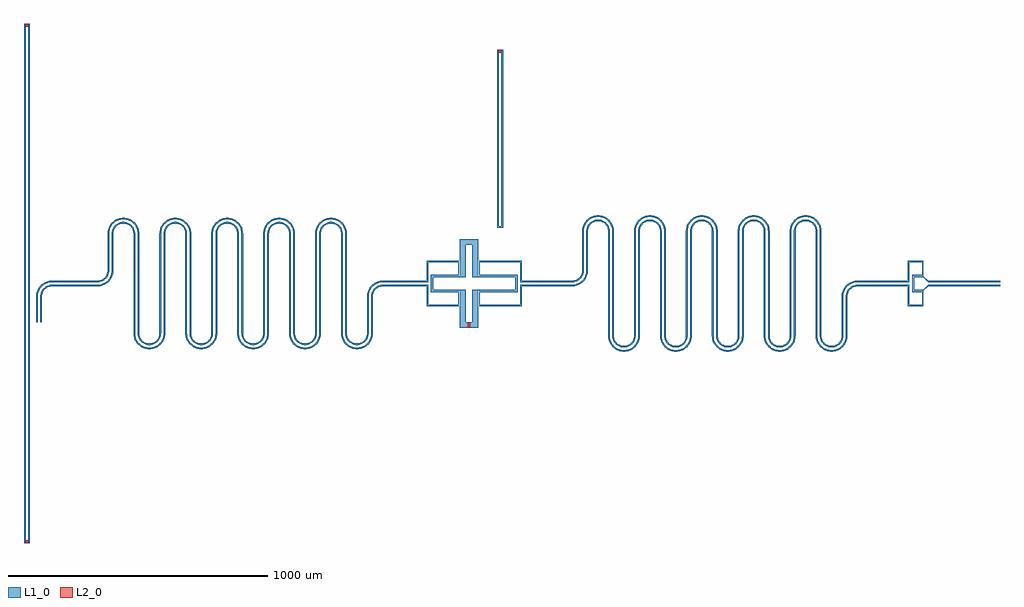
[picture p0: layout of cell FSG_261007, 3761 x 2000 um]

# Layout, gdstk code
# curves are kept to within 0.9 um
import gdstk
lib = gdstk.Library(unit=1e-6, precision=1e-09)
def R(c, l, rs):  # rectangles x0, y0, x1, y1
    for r in rs: c.add(gdstk.rectangle(r[:2], r[2:], *l))
def P(c, l, *ps):  # polygons
    for p in ps: c.add(gdstk.Polygon(p, *l))
L1_0 = (1, 0)
L2_0 = (2, 0)

nb_inv = lib.new_cell('Nb_inv')

fsg_261007 = lib.new_cell('FSG_261007')
R(fsg_261007, L1_0, [(-1867.802,-1000,-1861.802,1000), (-1851.802,-1000,-1845.802,1000)])
P(fsg_261007, L1_0, [(1560.198,-27),(1560.198,27),(1597.198,27),(1617.198,11),(1893.198,11),(1893.198,5),(1617.198,5),(1597.198,24),(1563.198,24),(1563.198,-24),(1597.198,-24),(1617.198,-5),(1893.198,-5),(1893.198,-11),(1617.198,-11),(1597.198,-27)],
  [(-188.802,-170),(-188.802,-27),(-293.802,-27),(-293.802,27),(-188.802,27),(-188.802,150),(-164.802,150),(-164.802,24),(-290.802,24),(-290.802,-24),(-164.802,-24),(-164.802,-150),(-140.802,-150),(-140.802,-24),(25.198,-24),(25.198,24),(-140.802,24),(-140.802,150),(-188.802,150),(-188.802,170),(-116.802,170),(-116.802,27),(28.198,27),(28.198,-27),(-116.802,-27),(-116.802,-170)],
  [(-1384.802,-253.179),(-1395.395,-252.252),(-1405.665,-249.5),(-1415.302,-245.007),(-1424.012,-238.908),(-1431.531,-231.389),(-1437.63,-222.679),(-1442.123,-213.042),(-1444.875,-202.772),(-1445.802,-192.179),(-1445.95,195.578),(-1448.154,205.518),(-1451.027,211.679),(-1454.926,217.248),(-1459.733,222.055),(-1465.302,225.954),(-1474.708,229.85),(-1481.403,231.031),(-1491.574,230.587),(-1498.141,228.827),(-1504.302,225.954),(-1509.871,222.055),(-1514.678,217.248),(-1520.148,208.661),(-1522.473,202.273),(-1523.802,192.179),(-1524.034,44.683),(-1525.881,34.212),(-1529.517,24.22),(-1538.073,10.79),(-1545.592,3.271),(-1554.302,-2.828),(-1563.939,-7.321),(-1579.485,-10.768),(-1759.802,-11),(-1769.896,-12.329),(-1779.302,-16.225),(-1784.871,-20.124),(-1791.749,-27.631),(-1796.45,-36.661),(-1798.21,-43.228),(-1798.802,-150),(-1804.802,-150),(-1804.802,-50),(-1804.118,-42.186),(-1800.586,-30.982),(-1796.664,-24.189),(-1791.622,-18.18),(-1782.302,-11.029),(-1771.449,-6.533),(-1759.802,-5),(-1580.008,-4.791),(-1570.567,-3.126),(-1561.558,0.153),(-1553.255,4.947),(-1542.67,14.647),(-1534.955,26.756),(-1531.676,35.765),(-1530.011,45.206),(-1529.802,192.179),(-1529.118,199.993),(-1525.586,211.197),(-1519.274,221.105),(-1510.613,229.041),(-1503.82,232.963),(-1496.449,235.646),(-1488.724,237.008),(-1476.988,236.496),(-1465.784,232.963),(-1458.991,229.041),(-1452.982,223.999),(-1447.94,217.99),(-1444.018,211.197),(-1440.486,199.993),(-1439.802,192.179),(-1439.593,-196.973),(-1437.928,-206.414),(-1434.649,-215.423),(-1429.855,-223.726),(-1423.693,-231.07),(-1416.349,-237.233),(-1408.046,-242.026),(-1399.037,-245.305),(-1389.596,-246.97),(-1380.008,-246.97),(-1370.567,-245.305),(-1361.558,-242.026),(-1353.255,-237.233),(-1345.911,-231.07),(-1339.749,-223.726),(-1334.955,-215.423),(-1330.638,-201.73),(-1329.802,-192.179),(-1329.631,196.101),(-1328.269,203.826),(-1325.586,211.197),(-1319.274,221.105),(-1310.613,229.041),(-1303.82,232.963),(-1296.449,235.646),(-1288.724,237.008),(-1276.988,236.496),(-1265.784,232.963),(-1258.991,229.041),(-1252.982,223.999),(-1247.94,217.99),(-1244.018,211.197),(-1240.486,199.993),(-1239.802,192.179),(-1239.593,-196.973),(-1237.928,-206.414),(-1234.649,-215.423),(-1229.855,-223.726),(-1223.693,-231.07),(-1212.302,-239.811),(-1203.613,-243.862),(-1194.353,-246.344),(-1184.802,-247.179),(-1175.251,-246.344),(-1161.558,-242.026),(-1153.255,-237.233),(-1145.911,-231.07),(-1139.749,-223.726),(-1134.955,-215.423),(-1130.638,-201.73),(-1129.802,-192.179),(-1129.631,196.101),(-1128.269,203.826),(-1125.586,211.197),(-1119.274,221.105),(-1110.613,229.041),(-1100.193,234.465),(-1092.616,236.496),(-1080.88,237.008),(-1073.155,235.646),(-1062.302,231.15),(-1052.982,223.999),(-1047.94,217.99),(-1044.018,211.197),(-1040.486,199.993),(-1039.802,192.179),(-1039.593,-196.973),(-1037.928,-206.414),(-1034.649,-215.423),(-1029.855,-223.726),(-1023.693,-231.07),(-1012.302,-239.811),(-1003.613,-243.862),(-994.353,-246.344),(-984.802,-247.179),(-975.251,-246.344),(-961.558,-242.026),(-953.255,-237.233),(-945.911,-231.07),(-939.749,-223.726),(-934.955,-215.423),(-930.638,-201.73),(-929.802,-192.179),(-929.631,196.101),(-928.269,203.826),(-925.586,211.197),(-919.274,221.105),(-910.613,229.041),(-900.193,234.465),(-892.616,236.496),(-880.88,237.008),(-873.155,235.646),(-862.302,231.15),(-852.982,223.999),(-847.94,217.99),(-844.018,211.197),(-840.486,199.993),(-839.802,192.179),(-839.593,-196.973),(-837.928,-206.414),(-834.649,-215.423),(-829.855,-223.726),(-823.693,-231.07),(-812.302,-239.811),(-803.613,-243.862),(-794.353,-246.344),(-784.802,-247.179),(-775.251,-246.344),(-761.558,-242.026),(-753.255,-237.233),(-745.911,-231.07),(-739.749,-223.726),(-734.955,-215.423),(-730.638,-201.73),(-729.802,-192.179),(-729.631,196.101),(-727.088,207.57),(-721.664,217.99),(-716.622,223.999),(-707.302,231.15),(-696.449,235.646),(-688.724,237.008),(-676.988,236.496),(-665.784,232.963),(-658.991,229.041),(-650.33,221.105),(-644.018,211.197),(-641.335,203.826),(-639.802,192.179),(-639.593,-196.973),(-637.928,-206.414),(-634.649,-215.423),(-626.934,-227.533),(-616.349,-237.233),(-608.046,-242.026),(-599.037,-245.305),(-589.596,-246.97),(-580.008,-246.97),(-570.567,-245.305),(-561.558,-242.026),(-553.255,-237.233),(-545.911,-231.07),(-539.749,-223.726),(-534.955,-215.423),(-531.676,-206.414),(-529.802,-192.179),(-529.802,-50),(-529.118,-42.186),(-525.586,-30.982),(-519.274,-21.075),(-510.613,-13.138),(-500.193,-7.714),(-492.616,-5.684),(-484.802,-5),(-309.802,-5),(-309.802,-81.5),(-194.802,-81.5),(-194.802,-33.5),(-299.802,-33.5),(-299.802,33.5),(-194.802,33.5),(-194.802,81.5),(-309.802,81.5),(-309.802,5),(-489.596,4.791),(-499.037,3.126),(-508.046,-0.153),(-520.155,-7.868),(-529.855,-18.453),(-534.649,-26.756),(-537.928,-35.765),(-539.593,-45.206),(-539.802,-192.179),(-540.486,-199.993),(-542.516,-207.57),(-545.831,-214.679),(-550.33,-221.105),(-558.991,-229.041),(-565.784,-232.963),(-573.155,-235.646),(-580.88,-237.008),(-588.724,-237.008),(-596.449,-235.646),(-603.82,-232.963),(-610.613,-229.041),(-619.274,-221.105),(-625.586,-211.197),(-628.269,-203.826),(-629.631,-196.101),(-629.802,192.179),(-631.676,206.414),(-634.955,215.423),(-642.67,227.533),(-653.255,237.233),(-661.558,242.026),(-675.251,246.344),(-689.596,246.97),(-699.037,245.305),(-712.302,239.811),(-723.693,231.07),(-729.855,223.726),(-736.485,210.99),(-739.593,196.973),(-739.802,-192.179),(-740.486,-199.993),(-744.018,-211.197),(-747.94,-217.99),(-752.982,-223.999),(-758.991,-229.041),(-765.784,-232.963),(-776.988,-236.496),(-788.724,-237.008),(-796.449,-235.646),(-803.82,-232.963),(-810.613,-229.041),(-819.274,-221.105),(-825.586,-211.197),(-828.269,-203.826),(-829.631,-196.101),(-829.802,192.179),(-831.676,206.414),(-834.955,215.423),(-842.67,227.533),(-849.449,234.312),(-857.302,239.811),(-870.567,245.305),(-880.008,246.97),(-894.353,246.344),(-903.613,243.862),(-916.349,237.233),(-926.934,227.533),(-934.649,215.423),(-937.928,206.414),(-939.593,196.973),(-939.802,-192.179),(-940.486,-199.993),(-944.018,-211.197),(-947.94,-217.99),(-952.982,-223.999),(-958.991,-229.041),(-965.784,-232.963),(-976.988,-236.496),(-984.802,-237.179),(-992.616,-236.496),(-1000.193,-234.465),(-1007.302,-231.15),(-1013.727,-226.651),(-1019.274,-221.105),(-1025.586,-211.197),(-1028.269,-203.826),(-1029.631,-196.101),(-1029.802,192.179),(-1031.676,206.414),(-1034.955,215.423),(-1042.67,227.533),(-1049.449,234.312),(-1057.302,239.811),(-1070.567,245.305),(-1080.008,246.97),(-1094.353,246.344),(-1103.613,243.862),(-1116.349,237.233),(-1126.934,227.533),(-1134.649,215.423),(-1137.928,206.414),(-1139.593,196.973),(-1139.802,-192.179),(-1140.486,-199.993),(-1144.018,-211.197),(-1147.94,-217.99),(-1152.982,-223.999),(-1158.991,-229.041),(-1165.784,-232.963),(-1176.988,-236.496),(-1184.802,-237.179),(-1192.616,-236.496),(-1200.193,-234.465),(-1207.302,-231.15),(-1213.727,-226.651),(-1219.274,-221.105),(-1225.586,-211.197),(-1228.269,-203.826),(-1229.631,-196.101),(-1229.802,192.179),(-1230.638,201.73),(-1234.955,215.423),(-1239.749,223.726),(-1245.911,231.07),(-1253.255,237.233),(-1261.558,242.026),(-1275.251,246.344),(-1289.596,246.97),(-1299.037,245.305),(-1308.046,242.026),(-1316.349,237.233),(-1326.934,227.533),(-1334.649,215.423),(-1337.928,206.414),(-1339.593,196.973),(-1339.802,-192.179),(-1340.486,-199.993),(-1344.018,-211.197),(-1347.94,-217.99),(-1352.982,-223.999),(-1358.991,-229.041),(-1365.784,-232.963),(-1373.155,-235.646),(-1380.88,-237.008),(-1388.724,-237.008),(-1396.449,-235.646),(-1403.82,-232.963),(-1410.613,-229.041),(-1416.622,-223.999),(-1421.664,-217.99),(-1425.586,-211.197),(-1428.269,-203.826),(-1429.631,-196.101),(-1429.802,192.179),(-1430.638,201.73),(-1434.955,215.423),(-1439.749,223.726),(-1445.911,231.07),(-1457.302,239.811),(-1465.991,243.862),(-1475.251,246.344),(-1484.802,247.179),(-1494.353,246.344),(-1503.613,243.862),(-1512.302,239.811),(-1520.155,234.312),(-1526.934,227.533),(-1532.433,219.679),(-1536.485,210.99),(-1538.966,201.73),(-1539.802,192.179),(-1539.973,46.078),(-1541.335,38.353),(-1544.018,30.982),(-1550.33,21.075),(-1558.991,13.138),(-1565.784,9.216),(-1573.155,6.533),(-1580.88,5.171),(-1759.802,5),(-1774.037,3.126),(-1787.302,-2.369),(-1798.693,-11.109),(-1804.855,-18.453),(-1809.649,-26.756),(-1812.928,-35.765),(-1814.802,-50),(-1814.802,-150),(-1820.802,-150),(-1820.802,-50),(-1819.875,-39.407),(-1817.123,-29.137),(-1812.63,-19.5),(-1802.936,-6.866),(-1794.79,-0.032),(-1780.665,7.321),(-1765.119,10.768),(-1581.403,11.148),(-1571.463,13.352),(-1565.302,16.225),(-1559.733,20.124),(-1554.926,24.931),(-1551.027,30.5),(-1548.154,36.661),(-1545.95,46.601),(-1545.802,192.179),(-1543.723,207.967),(-1537.63,222.679),(-1527.936,235.313),(-1515.302,245.007),(-1500.59,251.101),(-1490.119,252.947),(-1479.485,252.947),(-1469.014,251.101),(-1454.302,245.007),(-1445.592,238.908),(-1438.073,231.389),(-1429.517,217.959),(-1425.881,207.967),(-1423.802,192.179),(-1423.654,-195.578),(-1422.473,-202.273),(-1420.148,-208.661),(-1416.749,-214.549),(-1412.379,-219.756),(-1407.171,-224.126),(-1401.284,-227.525),(-1394.896,-229.85),(-1388.201,-231.031),(-1378.03,-230.587),(-1371.463,-228.827),(-1365.302,-225.954),(-1359.733,-222.055),(-1354.926,-217.248),(-1351.027,-211.679),(-1348.154,-205.518),(-1346.394,-198.951),(-1345.57,197.496),(-1343.723,207.967),(-1340.087,217.959),(-1331.531,231.389),(-1324.012,238.908),(-1315.302,245.007),(-1300.59,251.101),(-1290.119,252.947),(-1279.485,252.947),(-1269.014,251.101),(-1254.302,245.007),(-1245.592,238.908),(-1238.073,231.389),(-1229.517,217.959),(-1225.881,207.967),(-1223.802,192.179),(-1223.654,-195.578),(-1221.45,-205.518),(-1218.577,-211.679),(-1214.678,-217.248),(-1209.871,-222.055),(-1204.302,-225.954),(-1198.141,-228.827),(-1191.574,-230.587),(-1184.802,-231.179),(-1178.03,-230.587),(-1171.463,-228.827),(-1162.433,-224.126),(-1157.225,-219.756),(-1152.855,-214.549),(-1148.154,-205.518),(-1146.394,-198.951),(-1145.57,197.496),(-1143.723,207.967),(-1140.087,217.959),(-1131.531,231.389),(-1119.79,242.147),(-1105.665,249.5),(-1090.119,252.947),(-1079.485,252.947),(-1069.014,251.101),(-1054.302,245.007),(-1045.592,238.908),(-1038.073,231.389),(-1029.517,217.959),(-1025.881,207.967),(-1023.802,192.179),(-1023.654,-195.578),(-1021.45,-205.518),(-1018.577,-211.679),(-1014.678,-217.248),(-1009.871,-222.055),(-1004.302,-225.954),(-998.141,-228.827),(-991.574,-230.587),(-984.802,-231.179),(-978.03,-230.587),(-971.463,-228.827),(-962.433,-224.126),(-957.225,-219.756),(-952.855,-214.549),(-948.154,-205.518),(-946.394,-198.951),(-945.57,197.496),(-943.723,207.967),(-940.087,217.959),(-931.531,231.389),(-919.79,242.147),(-905.665,249.5),(-890.119,252.947),(-879.485,252.947),(-869.014,251.101),(-854.302,245.007),(-845.592,238.908),(-838.073,231.389),(-829.517,217.959),(-825.881,207.967),(-823.802,192.179),(-823.654,-195.578),(-821.45,-205.518),(-818.577,-211.679),(-814.678,-217.248),(-809.871,-222.055),(-804.302,-225.954),(-794.896,-229.85),(-788.201,-231.031),(-778.03,-230.587),(-771.463,-228.827),(-765.302,-225.954),(-759.733,-222.055),(-752.855,-214.549),(-748.154,-205.518),(-746.394,-198.951),(-745.57,197.496),(-742.123,213.042),(-737.63,222.679),(-727.936,235.313),(-715.302,245.007),(-700.59,251.101),(-690.119,252.947),(-674.209,252.252),(-659.022,247.464),(-645.592,238.908),(-638.073,231.389),(-629.517,217.959),(-625.881,207.967),(-623.802,192.179),(-623.654,-195.578),(-621.45,-205.518),(-618.577,-211.679),(-614.678,-217.248),(-609.871,-222.055),(-604.302,-225.954),(-594.896,-229.85),(-588.201,-231.031),(-578.03,-230.587),(-571.463,-228.827),(-565.302,-225.954),(-559.733,-222.055),(-554.926,-217.248),(-549.456,-208.661),(-547.131,-202.273),(-545.802,-192.179),(-545.57,-44.683),(-542.123,-29.137),(-537.63,-19.5),(-531.531,-10.79),(-524.012,-3.271),(-510.582,5.285),(-500.59,8.921),(-490.119,10.768),(-315.802,11),(-315.802,87.5),(-191.802,87.5),(-191.802,30.5),(-296.802,30.5),(-296.802,-30.5),(-191.802,-30.5),(-191.802,-87.5),(-315.802,-87.5),(-315.802,-11),(-484.802,-11),(-491.574,-11.592),(-498.141,-13.352),(-507.171,-18.053),(-514.678,-24.931),(-520.148,-33.518),(-523.21,-43.228),(-523.802,-192.179),(-524.729,-202.772),(-529.517,-217.959),(-534.834,-227.167),(-541.668,-235.313),(-549.814,-242.147),(-559.022,-247.464),(-569.014,-251.101),(-579.485,-252.947),(-590.119,-252.947),(-600.59,-251.101),(-615.302,-245.007),(-624.012,-238.908),(-631.531,-231.389),(-640.087,-217.959),(-643.723,-207.967),(-645.57,-197.496),(-646.394,198.951),(-649.456,208.661),(-654.926,217.248),(-659.733,222.055),(-668.32,227.525),(-678.03,230.587),(-688.201,231.031),(-698.141,228.827),(-704.302,225.954),(-709.871,222.055),(-716.749,214.549),(-721.45,205.518),(-723.654,195.578),(-723.802,-192.179),(-724.729,-202.772),(-727.481,-213.042),(-731.974,-222.679),(-741.668,-235.313),(-749.814,-242.147),(-759.022,-247.464),(-769.014,-251.101),(-784.802,-253.179),(-795.395,-252.252),(-810.582,-247.464),(-819.79,-242.147),(-827.936,-235.313),(-834.77,-227.167),(-840.087,-217.959),(-843.723,-207.967),(-845.57,-197.496),(-846.394,198.951),(-848.154,205.518),(-852.855,214.549),(-859.733,222.055),(-865.302,225.954),(-871.463,228.827),(-881.403,231.031),(-891.574,230.587),(-901.284,227.525),(-909.871,222.055),(-916.749,214.549),(-921.45,205.518),(-923.654,195.578),(-923.802,-192.179),(-924.729,-202.772),(-927.481,-213.042),(-931.974,-222.679),(-941.668,-235.313),(-949.814,-242.147),(-959.022,-247.464),(-969.014,-251.101),(-984.802,-253.179),(-995.395,-252.252),(-1010.582,-247.464),(-1019.79,-242.147),(-1027.936,-235.313),(-1034.77,-227.167),(-1040.087,-217.959),(-1043.723,-207.967),(-1045.57,-197.496),(-1046.394,198.951),(-1048.154,205.518),(-1052.855,214.549),(-1059.733,222.055),(-1065.302,225.954),(-1071.463,228.827),(-1081.403,231.031),(-1091.574,230.587),(-1098.141,228.827),(-1107.171,224.126),(-1114.678,217.248),(-1118.577,211.679),(-1121.45,205.518),(-1123.654,195.578),(-1123.802,-192.179),(-1124.729,-202.772),(-1127.481,-213.042),(-1131.974,-222.679),(-1138.073,-231.389),(-1145.592,-238.908),(-1154.302,-245.007),(-1169.014,-251.101),(-1179.485,-252.947),(-1190.119,-252.947),(-1200.59,-251.101),(-1210.582,-247.464),(-1219.79,-242.147),(-1227.936,-235.313),(-1234.77,-227.167),(-1240.087,-217.959),(-1244.875,-202.772),(-1245.802,-192.179),(-1245.95,195.578),(-1248.154,205.518),(-1251.027,211.679),(-1254.926,217.248),(-1262.433,224.126),(-1271.463,228.827),(-1278.03,230.587),(-1288.201,231.031),(-1294.896,229.85),(-1304.302,225.954),(-1309.871,222.055),(-1314.678,217.248),(-1318.577,211.679),(-1321.45,205.518),(-1323.654,195.578),(-1323.802,-192.179),(-1324.729,-202.772),(-1327.481,-213.042),(-1331.974,-222.679),(-1338.073,-231.389),(-1345.592,-238.908),(-1354.302,-245.007),(-1363.939,-249.5),(-1374.209,-252.252)],
  [(444.198,-262.606),(433.605,-261.679),(423.335,-258.927),(413.698,-254.434),(404.988,-248.335),(397.469,-240.816),(391.37,-232.106),(386.877,-222.469),(384.125,-212.199),(383.198,-201.606),(383.05,205.005),(380.846,214.945),(377.973,221.106),(374.074,226.675),(369.267,231.482),(363.698,235.381),(354.292,239.277),(347.597,240.458),(337.426,240.014),(330.859,238.254),(324.698,235.381),(319.129,231.482),(314.322,226.675),(308.852,218.088),(306.527,211.7),(305.198,201.606),(304.966,44.683),(301.519,29.137),(297.026,19.5),(287.332,6.866),(279.186,0.032),(265.061,-7.321),(249.515,-10.768),(50.198,-11),(50.198,-87.5),(-113.802,-87.5),(-113.802,-30.5),(31.198,-30.5),(31.198,30.5),(-113.802,30.5),(-113.802,87.5),(50.198,87.5),(50.198,11),(244.198,11),(250.97,11.592),(257.537,13.352),(263.698,16.225),(269.267,20.124),(274.074,24.931),(277.973,30.5),(280.846,36.661),(283.05,46.601),(283.198,201.606),(285.277,217.394),(291.37,232.106),(301.064,244.74),(313.698,254.434),(328.41,260.528),(338.881,262.374),(349.515,262.374),(359.986,260.528),(374.698,254.434),(383.408,248.335),(390.927,240.816),(399.483,227.386),(403.119,217.394),(405.198,201.606),(405.346,-205.005),(407.55,-214.945),(410.423,-221.106),(414.322,-226.675),(419.129,-231.482),(424.698,-235.381),(430.859,-238.254),(437.426,-240.014),(444.198,-240.606),(450.97,-240.014),(457.537,-238.254),(463.698,-235.381),(469.267,-231.482),(474.074,-226.675),(477.973,-221.106),(480.846,-214.945),(482.606,-208.378),(483.43,206.923),(486.877,222.469),(491.37,232.106),(501.064,244.74),(509.21,251.574),(523.335,258.927),(538.881,262.374),(549.515,262.374),(565.061,258.927),(574.698,254.434),(587.332,244.74),(597.026,232.106),(603.119,217.394),(605.198,201.606),(605.346,-205.005),(607.55,-214.945),(610.423,-221.106),(614.322,-226.675),(619.129,-231.482),(624.698,-235.381),(630.859,-238.254),(637.426,-240.014),(644.198,-240.606),(650.97,-240.014),(657.537,-238.254),(663.698,-235.381),(669.267,-231.482),(674.074,-226.675),(677.973,-221.106),(680.846,-214.945),(683.05,-205.005),(683.198,201.606),(684.125,212.199),(686.877,222.469),(694.23,236.594),(704.988,248.335),(718.418,256.891),(728.41,260.528),(738.881,262.374),(754.791,261.679),(769.978,256.891),(779.186,251.574),(787.332,244.74),(797.026,232.106),(803.119,217.394),(805.198,201.606),(805.346,-205.005),(807.55,-214.945),(810.423,-221.106),(814.322,-226.675),(819.129,-231.482),(824.698,-235.381),(830.859,-238.254),(837.426,-240.014),(844.198,-240.606),(850.97,-240.014),(857.537,-238.254),(863.698,-235.381),(869.267,-231.482),(874.074,-226.675),(877.973,-221.106),(880.846,-214.945),(883.05,-205.005),(883.198,201.606),(885.277,217.394),(891.37,232.106),(901.064,244.74),(913.698,254.434),(928.41,260.528),(944.198,262.606),(959.986,260.528),(974.698,254.434),(987.332,244.74),(994.166,236.594),(999.483,227.386),(1004.271,212.199),(1005.198,201.606),(1005.346,-205.005),(1007.55,-214.945),(1010.423,-221.106),(1014.322,-226.675),(1019.129,-231.482),(1024.698,-235.381),(1030.859,-238.254),(1037.426,-240.014),(1044.198,-240.606),(1050.97,-240.014),(1057.537,-238.254),(1063.698,-235.381),(1069.267,-231.482),(1074.074,-226.675),(1077.973,-221.106),(1080.846,-214.945),(1083.05,-205.005),(1083.198,201.606),(1084.125,212.199),(1086.877,222.469),(1091.37,232.106),(1101.064,244.74),(1109.21,251.574),(1117.871,256.606),(1144.198,256.606),(1134.647,255.771),(1125.387,253.289),(1116.698,249.238),(1108.845,243.739),(1102.066,236.96),(1096.567,229.106),(1092.515,220.417),(1090.034,211.157),(1089.198,201.606),(1089.027,-205.528),(1087.665,-213.253),(1084.982,-220.624),(1078.67,-230.532),(1073.123,-236.078),(1066.698,-240.577),(1059.589,-243.892),(1052.012,-245.923),(1044.198,-246.606),(1036.384,-245.923),(1025.18,-242.39),(1018.387,-238.468),(1012.378,-233.426),(1007.336,-227.417),(1003.414,-220.624),(999.882,-209.42),(999.198,-201.606),(998.989,206.4),(997.324,215.841),(994.045,224.85),(986.33,236.96),(975.745,246.66),(967.442,251.453),(958.433,254.732),(948.992,256.397),(934.647,255.771),(920.954,251.453),(912.651,246.66),(905.307,240.497),(899.145,233.153),(894.351,224.85),(890.034,211.157),(889.198,201.606),(889.027,-205.528),(887.665,-213.253),(884.982,-220.624),(878.67,-230.532),(873.123,-236.078),(866.698,-240.577),(859.589,-243.892),(852.012,-245.923),(844.198,-246.606),(836.384,-245.923),(825.18,-242.39),(818.387,-238.468),(812.378,-233.426),(807.336,-227.417),(803.414,-220.624),(799.882,-209.42),(799.198,-201.606),(798.989,206.4),(797.324,215.841),(794.045,224.85),(786.33,236.96),(775.745,246.66),(763.009,253.289),(753.749,255.771),(739.404,256.397),(729.963,254.732),(716.698,249.238),(708.845,243.739),(702.066,236.96),(694.351,224.85),(691.072,215.841),(689.198,201.606),(689.027,-205.528),(687.665,-213.253),(684.982,-220.624),(678.67,-230.532),(673.123,-236.078),(666.698,-240.577),(659.589,-243.892),(652.012,-245.923),(644.198,-246.606),(636.384,-245.923),(625.18,-242.39),(618.387,-238.468),(612.378,-233.426),(607.336,-227.417),(603.414,-220.624),(599.882,-209.42),(599.198,-201.606),(598.989,206.4),(595.881,220.417),(589.251,233.153),(579.551,243.739),(567.442,251.453),(553.749,255.771),(544.198,256.606),(534.647,255.771),(520.954,251.453),(512.651,246.66),(502.066,236.96),(494.351,224.85),(491.072,215.841),(489.198,201.606),(489.027,-205.528),(487.665,-213.253),(484.982,-220.624),(478.67,-230.532),(470.009,-238.468),(463.216,-242.39),(455.845,-245.073),(448.12,-246.435),(436.384,-245.923),(425.18,-242.39),(418.387,-238.468),(412.378,-233.426),(407.336,-227.417),(403.414,-220.624),(399.882,-209.42),(399.198,-201.606),(398.989,206.4),(395.881,220.417),(389.251,233.153),(383.089,240.497),(371.698,249.238),(363.009,253.289),(353.749,255.771),(339.404,256.397),(329.963,254.732),(316.698,249.238),(308.845,243.739),(302.066,236.96),(294.351,224.85),(291.072,215.841),(289.198,201.606),(289.198,50),(288.514,42.186),(284.982,30.982),(278.67,21.075),(270.009,13.138),(259.589,7.714),(252.012,5.684),(244.198,5),(44.198,5),(44.198,81.5),(-110.802,81.5),(-110.802,33.5),(34.198,33.5),(34.198,-33.5),(-110.802,-33.5),(-110.802,-81.5),(44.198,-81.5),(44.198,-5),(248.992,-4.791),(258.433,-3.126),(267.442,0.153),(275.745,4.947),(283.089,11.109),(289.251,18.453),(294.045,26.756),(297.324,35.765),(298.989,45.206),(299.198,201.606),(299.882,209.42),(301.912,216.997),(307.336,227.417),(312.378,233.426),(318.387,238.468),(328.807,243.892),(336.384,245.923),(348.12,246.435),(355.845,245.073),(366.698,240.577),(376.018,233.426),(381.06,227.417),(386.484,216.997),(389.027,205.528),(389.198,-201.606),(390.034,-211.157),(394.351,-224.85),(399.145,-233.153),(405.307,-240.497),(416.698,-249.238),(425.387,-253.289),(434.647,-255.771),(444.198,-256.606),(453.749,-255.771),(467.442,-251.453),(475.745,-246.66),(483.089,-240.497),(489.251,-233.153),(494.045,-224.85),(498.362,-211.157),(499.198,-201.606),(499.369,205.528),(500.731,213.253),(503.414,220.624),(509.726,230.532),(518.387,238.468),(525.18,242.39),(532.551,245.073),(540.276,246.435),(552.012,245.923),(563.216,242.39),(570.009,238.468),(576.018,233.426),(581.06,227.417),(584.982,220.624),(588.514,209.42),(589.198,201.606),(589.407,-206.4),(591.072,-215.841),(594.351,-224.85),(599.145,-233.153),(605.307,-240.497),(616.698,-249.238),(625.387,-253.289),(634.647,-255.771),(644.198,-256.606),(653.749,-255.771),(667.442,-251.453),(675.745,-246.66),(683.089,-240.497),(689.251,-233.153),(694.045,-224.85),(698.362,-211.157),(699.198,-201.606),(699.369,205.528),(700.731,213.253),(703.414,220.624),(709.726,230.532),(718.387,238.468),(728.807,243.892),(736.384,245.923),(748.12,246.435),(755.845,245.073),(766.698,240.577),(776.018,233.426),(781.06,227.417),(784.982,220.624),(788.514,209.42),(789.198,201.606),(789.407,-206.4),(791.072,-215.841),(794.351,-224.85),(799.145,-233.153),(805.307,-240.497),(816.698,-249.238),(825.387,-253.289),(834.647,-255.771),(844.198,-256.606),(853.749,-255.771),(867.442,-251.453),(875.745,-246.66),(883.089,-240.497),(889.251,-233.153),(894.045,-224.85),(898.362,-211.157),(899.198,-201.606),(899.369,205.528),(901.912,216.997),(907.336,227.417),(915.273,236.078),(925.18,242.39),(936.384,245.923),(944.198,246.606),(952.012,245.923),(963.216,242.39),(970.009,238.468),(978.67,230.532),(984.982,220.624),(988.514,209.42),(989.198,201.606),(989.407,-206.4),(991.072,-215.841),(994.351,-224.85),(1002.066,-236.96),(1012.651,-246.66),(1020.954,-251.453),(1029.963,-254.732),(1039.404,-256.397),(1053.749,-255.771),(1067.442,-251.453),(1075.745,-246.66),(1083.089,-240.497),(1089.251,-233.153),(1094.045,-224.85),(1098.362,-211.157),(1099.198,-201.606),(1099.369,205.528),(1100.731,213.253),(1103.414,220.624),(1109.726,230.532),(1118.387,238.468),(1125.18,242.39),(1132.551,245.073),(1140.276,246.435),(1152.012,245.923),(1163.216,242.39),(1170.009,238.468),(1176.018,233.426),(1181.06,227.417),(1184.982,220.624),(1188.514,209.42),(1189.198,201.606),(1189.407,-206.4),(1191.072,-215.841),(1196.567,-229.106),(1202.066,-236.96),(1212.651,-246.66),(1220.954,-251.453),(1234.647,-255.771),(1248.992,-256.397),(1258.433,-254.732),(1271.698,-249.238),(1279.551,-243.739),(1286.33,-236.96),(1294.045,-224.85),(1297.324,-215.841),(1299.198,-201.606),(1299.198,-50),(1299.882,-42.186),(1303.414,-30.982),(1307.336,-24.189),(1315.273,-15.528),(1325.18,-9.216),(1332.551,-6.533),(1344.198,-5),(1544.198,-5),(1544.198,-81),(1594.198,-81),(1594.198,-33),(1554.198,-33),(1554.198,33),(1594.198,33),(1594.198,81),(1544.198,81),(1544.198,5),(1344.198,5),(1329.963,3.126),(1320.954,-0.153),(1308.845,-7.868),(1299.145,-18.453),(1294.351,-26.756),(1290.034,-40.449),(1289.198,-50),(1289.198,-201.606),(1287.665,-213.253),(1284.982,-220.624),(1278.67,-230.532),(1273.123,-236.078),(1263.216,-242.39),(1255.845,-245.073),(1248.12,-246.435),(1236.384,-245.923),(1225.18,-242.39),(1218.387,-238.468),(1209.726,-230.532),(1205.227,-224.106),(1200.731,-213.253),(1199.369,-205.528),(1199.198,201.606),(1198.362,211.157),(1194.045,224.85),(1189.251,233.153),(1183.089,240.497),(1171.698,249.238),(1163.009,253.289),(1153.749,255.771),(1144.198,256.606),(1117.871,256.606),(1128.41,260.528),(1144.198,262.606),(1159.986,260.528),(1169.978,256.891),(1183.408,248.335),(1190.927,240.816),(1199.483,227.386),(1203.119,217.394),(1205.198,201.606),(1205.346,-205.005),(1207.55,-214.945),(1210.423,-221.106),(1214.322,-226.675),(1221.829,-233.553),(1230.859,-238.254),(1237.426,-240.014),(1247.597,-240.458),(1254.292,-239.277),(1260.68,-236.952),(1269.267,-231.482),(1274.074,-226.675),(1277.973,-221.106),(1280.846,-214.945),(1282.606,-208.378),(1283.198,-201.606),(1283.43,-44.683),(1286.877,-29.137),(1291.37,-19.5),(1297.469,-10.79),(1304.988,-3.271),(1318.418,5.285),(1328.41,8.921),(1338.881,10.768),(1538.198,11),(1538.198,87),(1597.198,87),(1597.198,30),(1557.198,30),(1557.198,-30),(1597.198,-30),(1597.198,-87),(1538.198,-87),(1538.198,-11),(1344.198,-11),(1337.426,-11.592),(1327.716,-14.654),(1319.129,-20.124),(1312.251,-27.631),(1307.55,-36.661),(1305.346,-46.601),(1305.198,-201.606),(1304.271,-212.199),(1301.519,-222.469),(1297.026,-232.106),(1290.927,-240.816),(1283.408,-248.335),(1274.698,-254.434),(1259.986,-260.528),(1249.515,-262.374),(1238.881,-262.374),(1228.41,-260.528),(1213.698,-254.434),(1204.988,-248.335),(1197.469,-240.816),(1188.913,-227.386),(1185.277,-217.394),(1183.43,-206.923),(1182.606,208.378),(1179.544,218.088),(1174.074,226.675),(1169.267,231.482),(1160.68,236.952),(1150.97,240.014),(1140.799,240.458),(1130.859,238.254),(1124.698,235.381),(1119.129,231.482),(1112.251,223.976),(1107.55,214.945),(1105.346,205.005),(1105.198,-201.606),(1104.271,-212.199),(1099.483,-227.386),(1094.166,-236.594),(1087.332,-244.74),(1074.698,-254.434),(1059.986,-260.528),(1049.515,-262.374),(1038.881,-262.374),(1028.41,-260.528),(1013.698,-254.434),(1004.988,-248.335),(997.469,-240.816),(988.913,-227.386),(985.277,-217.394),(983.43,-206.923),(982.606,208.378),(980.846,214.945),(976.145,223.976),(969.267,231.482),(963.698,235.381),(957.537,238.254),(947.597,240.458),(937.426,240.014),(927.716,236.952),(919.129,231.482),(912.251,223.976),(907.55,214.945),(905.346,205.005),(905.198,-201.606),(904.271,-212.199),(901.519,-222.469),(897.026,-232.106),(887.332,-244.74),(879.186,-251.574),(869.978,-256.891),(859.986,-260.528),(844.198,-262.606),(833.605,-261.679),(818.418,-256.891),(809.21,-251.574),(801.064,-244.74),(794.23,-236.594),(788.913,-227.386),(785.277,-217.394),(783.43,-206.923),(782.606,208.378),(780.846,214.945),(776.145,223.976),(769.267,231.482),(763.698,235.381),(757.537,238.254),(747.597,240.458),(737.426,240.014),(730.859,238.254),(721.829,233.553),(714.322,226.675),(710.423,221.106),(707.55,214.945),(705.346,205.005),(705.198,-201.606),(704.271,-212.199),(701.519,-222.469),(697.026,-232.106),(687.332,-244.74),(679.186,-251.574),(669.978,-256.891),(659.986,-260.528),(644.198,-262.606),(633.605,-261.679),(618.418,-256.891),(609.21,-251.574),(601.064,-244.74),(594.23,-236.594),(588.913,-227.386),(585.277,-217.394),(583.43,-206.923),(582.606,208.378),(580.846,214.945),(576.145,223.976),(569.267,231.482),(563.698,235.381),(557.537,238.254),(550.97,240.014),(540.799,240.458),(534.104,239.277),(524.698,235.381),(519.129,231.482),(514.322,226.675),(510.423,221.106),(507.55,214.945),(505.346,205.005),(505.198,-201.606),(504.271,-212.199),(501.519,-222.469),(497.026,-232.106),(490.927,-240.816),(483.408,-248.335),(474.698,-254.434),(465.061,-258.927),(454.791,-261.679)],
  [(-43.802,214),(-43.802,900),(-37.802,900),(-37.802,220),(-27.802,220),(-27.802,900),(-21.802,900),(-21.802,214)])
R(fsg_261007, L2_0, [(-1861.802,-1000,-1851.802,-990), (-157.627,-170,-147.627,-150), (-37.802,890,-27.802,900), (-1861.802,990,-1851.802,1000)])
fsg_261007.add(gdstk.Reference(nb_inv, (0,0)))

lib.write_gds('FSG_261007.gds')
